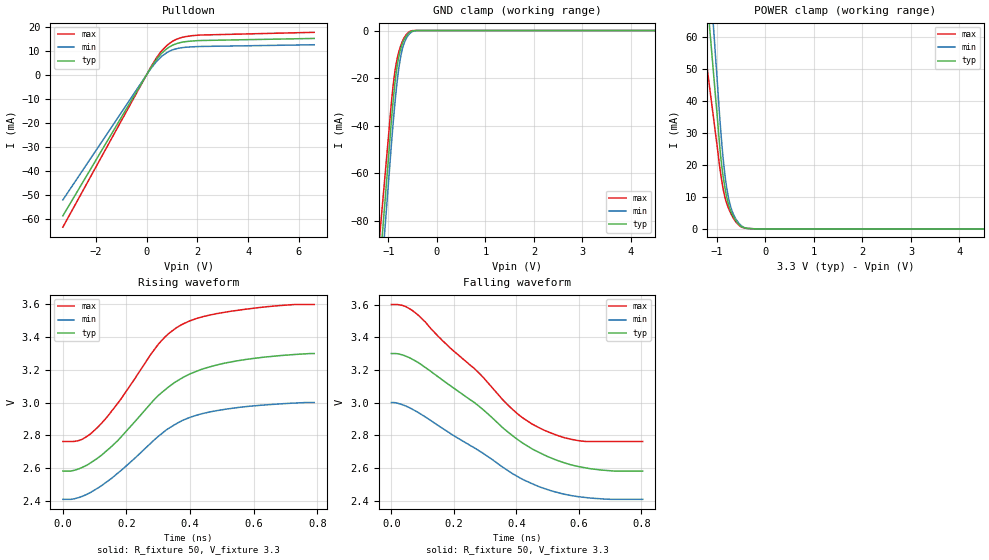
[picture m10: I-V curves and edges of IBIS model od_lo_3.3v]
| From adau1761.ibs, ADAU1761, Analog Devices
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[Model] od_lo_3.3v
Model_type I/O_open_drain
Vinl = 9.900E-01
Vinh = 2.310E+00
Vref=3.300E+00
Rref=2.000E+03
Cref=0.000E+00
Vmeas=1.650E+00
C_comp   5.9300E-13   5.6335E-13   6.2265E-13
[Voltage Range]   3.300E+00   3.000E+00   3.600E+00
[POWER Clamp Reference]   3.300E+00   3.000E+00   3.600E+00
[GND Clamp Reference]   0.000E+00   0.000E+00   0.000E+00
[Pullup Reference]   3.300E+00   3.000E+00   3.600E+00
[Pulldown Reference]   0.000E+00   0.000E+00   0.000E+00
[Temperature Range]   25   85   -40
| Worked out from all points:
|   slope of the pulldown table from 0 to 0.495 V, typ, clamps not added: 63.7 ohm
|   GND clamp passes 1 mA (typ) near -0.58 V on its own axis
|   POWER clamp passes 1 mA (typ) near -0.52 V on its own axis
|   rising waveform, R_fixture 50, V_fixture 3.3: 20-80 % time 231ps typ, 221ps min, 193ps max; typ from 2.58 V to 3.3 V
|   falling waveform, R_fixture 50, V_fixture 3.3: 20-80 % time 293ps typ, 291ps min, 268ps max; typ from 3.3 V to 2.58 V
[GND Clamp]
-3.3V     -642.6mA   -674.3mA   -578.1mA
-1.02V    -58.67mA   -69.42mA   -49.18mA
-940mV    -38.06mA   -48.12mA   -30.45mA
-900mV    -28.8mA    -38.13mA   -22.5mA
-840mV    -17.68mA   -25.06mA   -13.87mA
-780mV    -10.39mA   -14.99mA   -8.525mA
-740mV    -7.176mA   -10.16mA   -5.969mA
-680mV    -3.939mA   -5.478mA   -3.157mA
-620mV    -1.941mA   -2.857mA   -1.404mA
-560mV    -692.1uA   -1.225mA   -399.8uA
-400mV    0A         0A         -189.6nA
6.6V      0A         0A         0A
[Power Clamp]
-3.3V     443.5mA    548.1mA    299.7mA
-1.02V    39.68mA    51.86mA    28.67mA
-940mV    25.34mA    34.31mA    19.07mA
-900mV    19.54mA    26.61mA    14.95mA
-860mV    15.19mA    20.17mA    11.55mA
-800mV    9.99mA     12.98mA    8.022mA
-740mV    6.616mA    8.253mA    5.696mA
-680mV    4.455mA    5.271mA    3.84mA
-600mV    2.381mA    2.839mA    1.973mA
-480mV    607.9uA    809.1uA    495uA
-160mV    0A         0A         225.3nA
6.6V      0A         0A         0A
[Pulldown]
-3.3V     -58.73mA   -52.1mA    -63.43mA
160mV     2.831mA    2.452mA    3.107mA
540mV     8.349mA    7.157mA    9.268mA
880mV     11.46mA    9.706mA    12.91mA
1.04V     12.39mA    10.43mA    14.05mA
1.32V     13.38mA    11.15mA    15.33mA
1.98V     14.18mA    11.72mA    16.44mA
6.6V      15.12mA    12.5mA     17.67mA
[Rising Waveform]
R_fixture = 50
V_fixture = 3.3
V_fixture_min = 3
V_fixture_max = 3.6
0s        2.58V      2.408V     2.762V
57ps      2.6V       2.423V     2.772V
106ps     2.655V     2.472V     2.842V
181ps     2.785V     2.581V     3.017V
301ps     3.045V     2.794V     3.359V
334ps     3.098V     2.844V     3.424V
373ps     3.148V     2.888V     3.476V
441ps     3.207V     2.933V     3.526V
525ps     3.247V     2.963V     3.558V
790ps     3.3V       3V         3.6V
[Falling Waveform]
R_fixture = 50
V_fixture = 3.3
V_fixture_min = 3
V_fixture_max = 3.6
0s        3.3V       3V         3.6V
45ps      3.285V     2.98V      3.588V
81ps      3.25V      2.945V     3.543V
192ps     3.099V     2.807V     3.327V
267ps     2.998V     2.721V     3.205V
373ps     2.819V     2.583V     2.985V
449ps     2.718V     2.505V     2.87V
521ps     2.653V     2.455V     2.806V
594ps     2.61V      2.425V     2.768V
804ps     2.58V      2.408V     2.762V
[Ramp]
dV/dt_r   4.3177E-01/2.3050E-10   3.5536E-01/2.2120E-10   5.0307E-01/1.9270E-10
dV/dt_f   4.3177E-01/2.9322E-10   3.5536E-01/2.9091E-10   5.0307E-01/2.6858E-10
R_load = 50
